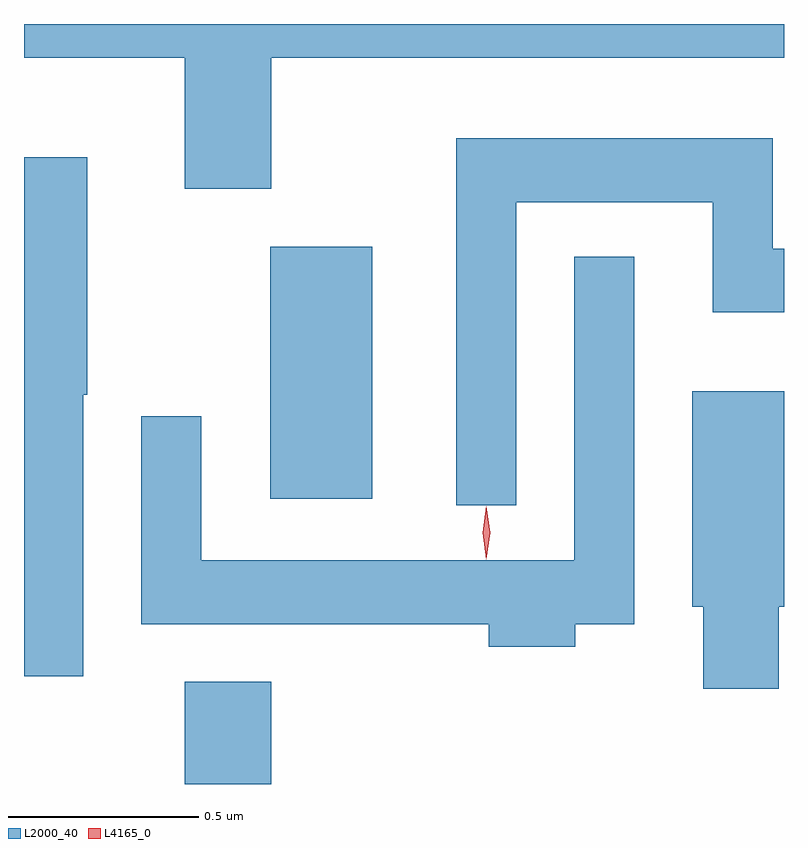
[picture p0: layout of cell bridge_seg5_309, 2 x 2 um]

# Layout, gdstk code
import gdstk
lib = gdstk.Library(unit=1e-6, precision=1e-09)
def R(c, l, rs):  # rectangles x0, y0, x1, y1
    for r in rs: c.add(gdstk.rectangle(r[:2], r[2:], *l))
def P(c, l, *ps):  # polygons
    for p in ps: c.add(gdstk.Polygon(p, *l))
L2000_40 = (2000, 40)
L4165_0 = (4165, 0)

bridge_seg5_309 = lib.new_cell('bridge_seg5_309')
R(bridge_seg5_309, L2000_40, [(658.301,1517.045,658.529,1517.314), (658.526,1517.796,658.794,1518.459)])
P(bridge_seg5_309, L2000_40, [(658.529,1518.956),(659.878,1518.956),(659.878,1519.045),(657.878,1519.045),(657.878,1518.956),(658.301,1518.956),(658.301,1518.611),(658.529,1518.611)],
  [(659.174,1518.576),(659.691,1518.576),(659.691,1518.286),(659.878,1518.286),(659.878,1518.454),(659.849,1518.454),(659.849,1518.744),(659.016,1518.744),(659.016,1517.778),(659.174,1517.778)],
  [(658.034,1518.07),(658.044,1518.07),(658.044,1518.694),(657.878,1518.694),(657.878,1517.328),(658.034,1517.328)],
  [(659.329,1517.466),(659.484,1517.466),(659.484,1518.433),(659.326,1518.433),(659.326,1517.634),(658.344,1517.634),(658.344,1518.013),(658.186,1518.013),(658.186,1517.466),(659.101,1517.466),(659.101,1517.406),(659.329,1517.406)],
  [(659.864,1517.511),(659.878,1517.511),(659.878,1518.079),(659.636,1518.079),(659.636,1517.511),(659.666,1517.511),(659.666,1517.296),(659.864,1517.296)])
P(bridge_seg5_309, L4165_0, [(659.094,1517.637),(659.085,1517.706),(659.094,1517.776),(659.095,1517.776),(659.095,1517.776),(659.105,1517.706),(659.095,1517.637),(659.095,1517.637)],
  [(659.095,1517.639),(659.094,1517.64),(659.085,1517.706),(659.094,1517.772),(659.095,1517.773),(659.095,1517.772),(659.105,1517.706),(659.095,1517.64)])

lib.write_gds('bridge_seg5_309.gds')
